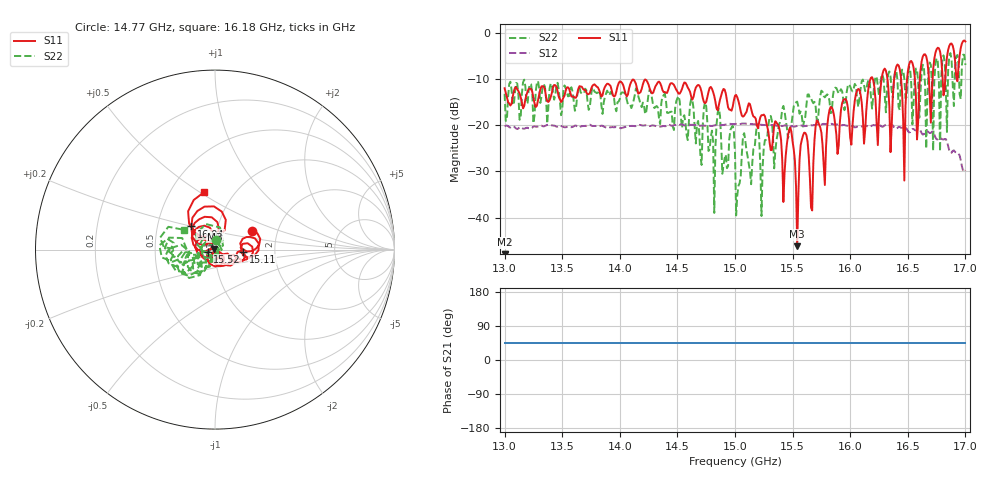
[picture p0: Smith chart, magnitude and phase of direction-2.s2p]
!Keysight Technologies,P9374A,MY57211810,A.19.30.04
!Date: Friday, May 02, 2025 08:56:31
!Correction: S11(Off)
!S21(Off)
!S12(Off)
!S22(Off)
!S2P File: Measurements: S11, S21, S12, S22:
# Hz S  dB  R 50
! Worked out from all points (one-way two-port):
!   401 points, 13 GHz to 17 GHz, reference 50 ohm
!   highest |S21| = - dB at 13 GHz (marker M1); lowest = - dB at 13 GHz (marker M2)
!   lowest |S11| = -46.2 dB at 15.54 GHz (marker M3), VSWR 1.01, Z = 49.7 + j0.378 ohm
!   |S11| at or under -10 dB: start of sweep to 16.18 GHz; 16.19567 GHz to 16.27291 GHz (77.24 MHz wide, 0.476 % of centre); 16.32288 GHz to 16.38167 GHz (58.79 MHz wide, 0.36 % of centre) (the widest 3 of 8)
!   |S22| runs from -39.7 to -4.4 dB; largest |S21 - S12| = 0.1
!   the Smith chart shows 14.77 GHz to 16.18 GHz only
!   S11 on the Smith chart (normalised r, x): 14.77 GHz: 1.47, +0.32; 15.11 GHz: 1.37, -0.03; 15.52 GHz: 0.92, -0.02; 16.04 GHz: 0.74, +0.20; 16.18 GHz: 0.73, +0.52
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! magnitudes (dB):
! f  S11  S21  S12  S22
! 13 GHz  -12.0  -  -20.3  -13.2
! 13.67 GHz  -11.7  -  -20.2  -13.2
! 14.34 GHz  -10.6  -  -20.3  -18.4
! 14.77 GHz  -12.8  -  -20.1  -25.6
! 15 GHz  -13.6  -  -19.8  -26.0
! 15.11 GHz  -16.1  -  -19.7  -26.9
! 15.43 GHz  -30.4  -  -20.1  -17.0
! 15.48 GHz  -20.5  -  -20.2  -20.5
! 15.52 GHz  -27.7  -  -20.3  -15.3
! 15.54 GHz  -46.2  -  -20.2  -14.9
! 15.6 GHz  -21.6  -  -20.2  -19.2
! 15.67 GHz  -38.5  -  -20.1  -14.8
! 15.72 GHz  -19.2  -  -19.9  -19.0
! 16.04 GHz  -14.7  -  -20.5  -11.1
! 16.18 GHz  -9.7  -  -20.2  -13.8
! 16.34 GHz  -16.1  -  -20.0  -8.4
! 16.41 GHz  -6.9  -  -20.6  -10.2
! 16.47 GHz  -32.0  -  -20.4  -10.0
! 16.52 GHz  -6.2  -  -21.5  -7.8
! 16.58 GHz  -23.1  -  -21.1  -7.8
! 16.64 GHz  -4.7  -  -22.0  -7.6
! 17 GHz  -1.9  -  -29.8  -7.0
